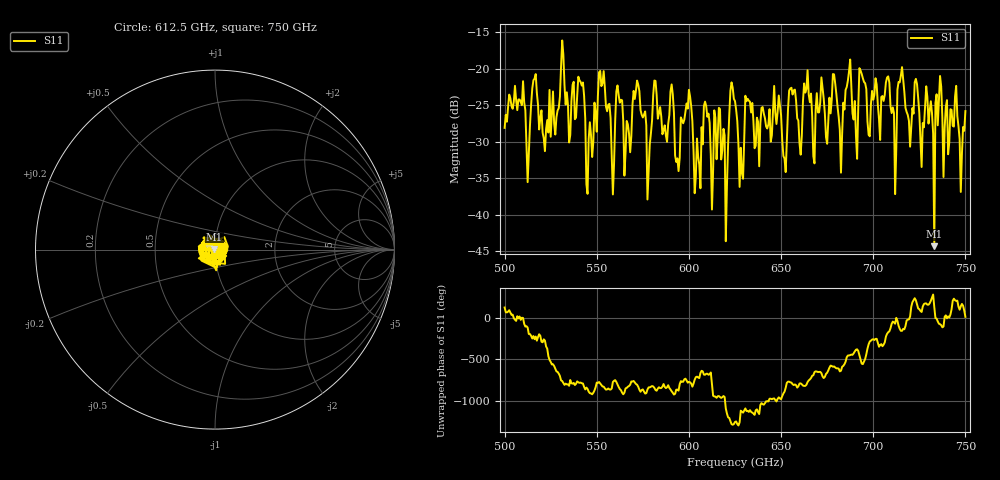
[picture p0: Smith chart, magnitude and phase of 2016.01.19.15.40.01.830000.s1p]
!Created with skrf (http://scikit-rf.org).
# GHz S RI R 50.0
!freq ReS11 ImS11
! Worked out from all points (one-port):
!   401 points, 500 GHz to 750 GHz, reference 50 ohm
!   lowest |S11| = -44.3 dB at 733.1 GHz (marker M1), VSWR 1.01, Z = 49.6 + j0.415 ohm
!   |S11| at or under -10 dB: start of sweep to end of sweep
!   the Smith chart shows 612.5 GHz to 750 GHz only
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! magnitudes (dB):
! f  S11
! 500 GHz  -28.1
! 513.1 GHz  -31.8
! 516.2 GHz  -21.4
! 522.5 GHz  -28.3
! 531.2 GHz  -16.1
! 541.2 GHz  -21.8
! 545.6 GHz  -29.6
! 552.5 GHz  -22.4
! 558.8 GHz  -37.2
! 562.5 GHz  -24.7
! 578.1 GHz  -34.1
! 581.2 GHz  -21.6
! 590.6 GHz  -22.2
! 593.8 GHz  -32.3
! 600 GHz  -22.9
! 604.4 GHz  -29.6
! 609.4 GHz  -25.1
! 619.4 GHz  -29.1
! 625 GHz  -24.4
! 628.1 GHz  -30.8
! 631.9 GHz  -24.1
! 651.9 GHz  -32.3
! 656.2 GHz  -23.5
! 681.9 GHz  -28.4
! 687.5 GHz  -18.7
! 718.8 GHz  -26.4
! 733.1 GHz  -44.3
! 750 GHz  -25.8
